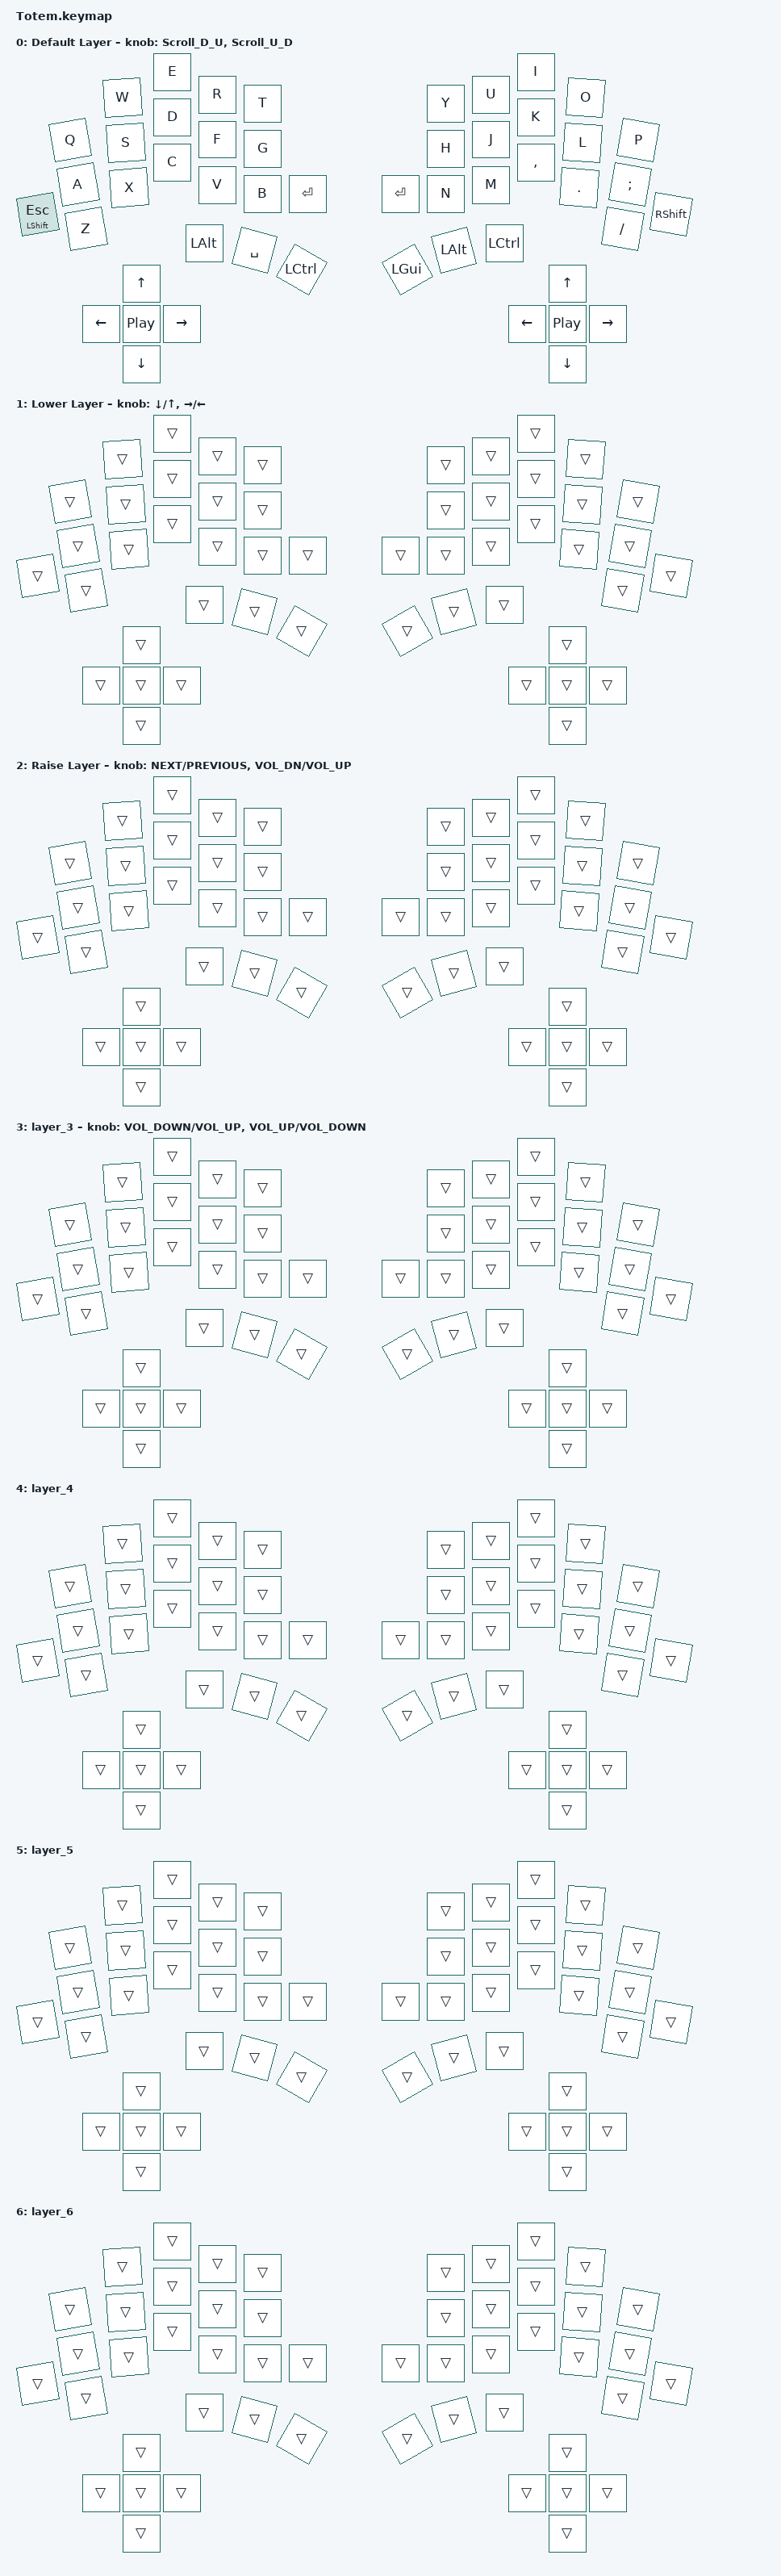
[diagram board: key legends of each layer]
/*
 * Copyright (c) 2020 The ZMK Contributors
 *
 * SPDX-License-Identifier: MIT
 */

#include <input/processors.dtsi>
#include <zephyr/dt-bindings/input/input-event-codes.h>
#include <dt-bindings/zmk/mouse.h>
#include <behaviors/mouse_keys.dtsi>
#include <behaviors.dtsi>
#include <dt-bindings/zmk/keys.h>
#include <dt-bindings/zmk/pointing.h>

#define ZMK_POINTING_DEFAULT_MOVE_VAL 1200  // 600
#define ZMK_POINTING_DEFAULT_SCRL_VAL 900   // mousescroll SPEED

&mmv_input_listener { input-processors = <&zip_xy_scaler 2 1>; };

&msc_input_listener { input-processors = <&zip_scroll_scaler 2 1>; };

&msc {
    acceleration-exponent = <1>;      // 0
    time-to-max-speed-ms = <100>;       // 300
    delay-ms = <0>;                   // 0
};

&mmv {
    time-to-max-speed-ms = <500>;
    acceleration-exponent = <1>;
    trigger-period-ms = <16>;
};

&soft_off {
    hold-time-ms = <3000>; // Only turn off it the key is held for 3 seconds or longer.
};

&mt {
    tapping-term-ms = <300>;
    flavor = "tap-preferred";
};

&lt { tapping-term-ms = <300>; };

/ {
    behaviors {
        Scroll_D_U: Scroll_D_U {
            compatible = "zmk,behavior-sensor-rotate";
            label = "SCROLL_D_U";
            #sensor-binding-cells = <0>;
            bindings = <&msc SCRL_DOWN>, <&msc SCRL_UP>;

            tap-ms = <20>;
        };

        TD01: TD01 {
            compatible = "zmk,behavior-tap-dance";
            label = "TD01";
            #binding-cells = <0>;
            bindings = <&kp MINUS>, <&kp PERIOD>;
        };

        Scroll_U_D: Scroll_U_D {
            compatible = "zmk,behavior-sensor-rotate";
            label = "SCROLL_U_D";
            #sensor-binding-cells = <0>;
            bindings = <&msc SCRL_UP>, <&msc SCRL_DOWN>;

            tap-ms = <20>;
        };

        Scroll_LR: Scroll_LR {
            compatible = "zmk,behavior-sensor-rotate";
            label = "SCROLL_LR";
            #sensor-binding-cells = <0>;
            bindings = <&msc SCRL_LEFT>, <&msc SCRL_RIGHT>;

            tap-ms = <20>;
        };

        Scroll_RL: Scroll_RL {
            compatible = "zmk,behavior-sensor-rotate";
            label = "SCROLL_RL";
            #sensor-binding-cells = <0>;
            bindings = <&msc SCRL_RIGHT>, <&msc SCRL_LEFT>;

            tap-ms = <20>;
        };
    };

    combos {
        compatible = "zmk,combos";

        boot {
            bindings = <&bootloader>;
            key-positions = <33 32 30>;
        };

        boot2 {
            bindings = <&bootloader>;
            key-positions = <36 37 39>;
        };
    };

    keymap {
        compatible = "zmk,keymap";

        default_layer {
            display-name = "Default Layer";
            bindings = <
&kp Q          &kp W         &kp E             &kp R      &kp T      &kp Y      &kp U     &kp I             &kp O      &kp P
&kp A          &kp S         &kp D             &kp F      &kp G      &kp H      &kp J     &kp K             &kp L      &kp SEMI
&kp Z          &kp X         &kp C             &kp V      &kp B      &kp N      &kp M     &kp COMMA         &kp DOT    &kp FSLH
&mt LSHFT ESC  &kp LEFT_ALT  &kp SPACE         &kp LCTRL  &kp ENTER  &kp ENTER  &kp LGUI  &kp LALT          &kp LCTRL  &kp RSHFT
&kp LEFT       &kp UP        &kp C_PLAY_PAUSE  &kp DOWN   &kp RIGHT  &kp LEFT   &kp DOWN  &kp C_PLAY_PAUSE  &kp UP     &kp RIGHT
            >;

            sensor-bindings = <&Scroll_D_U>, <&Scroll_U_D>;
        };

        lower_layer {
            display-name = "Lower Layer";
            bindings = <
&trans  &trans  &trans  &trans  &trans  &trans  &trans  &trans  &trans  &trans
&trans  &trans  &trans  &trans  &trans  &trans  &trans  &trans  &trans  &trans
&trans  &trans  &trans  &trans  &trans  &trans  &trans  &trans  &trans  &trans
&trans  &trans  &trans  &trans  &trans  &trans  &trans  &trans  &trans  &trans
&trans  &trans  &trans  &trans  &trans  &trans  &trans  &trans  &trans  &trans
            >;

            sensor-bindings =
                <&inc_dec_kp DOWN UP_ARROW>,
                <&inc_dec_kp RIGHT LEFT>;
        };

        raise_layer {
            display-name = "Raise Layer";
            bindings = <
&trans  &trans  &trans  &trans  &trans  &trans  &trans  &trans  &trans  &trans
&trans  &trans  &trans  &trans  &trans  &trans  &trans  &trans  &trans  &trans
&trans  &trans  &trans  &trans  &trans  &trans  &trans  &trans  &trans  &trans
&trans  &trans  &trans  &trans  &trans  &trans  &trans  &trans  &trans  &trans
&trans  &trans  &trans  &trans  &trans  &trans  &trans  &trans  &trans  &trans
            >;

            sensor-bindings =
                <&inc_dec_kp C_NEXT C_PREVIOUS>,
                <&inc_dec_kp C_VOL_DN C_VOL_UP>;
        };

        layer_3 {
            bindings = <
&trans  &trans  &trans  &trans  &trans  &trans  &trans  &trans  &trans  &trans
&trans  &trans  &trans  &trans  &trans  &trans  &trans  &trans  &trans  &trans
&trans  &trans  &trans  &trans  &trans  &trans  &trans  &trans  &trans  &trans
&trans  &trans  &trans  &trans  &trans  &trans  &trans  &trans  &trans  &trans
&trans  &trans  &trans  &trans  &trans  &trans  &trans  &trans  &trans  &trans
            >;

            sensor-bindings =
                <&inc_dec_kp C_VOLUME_DOWN C_VOLUME_UP>,
                <&inc_dec_kp C_VOLUME_UP C_VOLUME_DOWN>;
        };

        layer_4 {
            bindings = <
&trans  &trans  &trans  &trans  &trans  &trans  &trans  &trans  &trans  &trans
&trans  &trans  &trans  &trans  &trans  &trans  &trans  &trans  &trans  &trans
&trans  &trans  &trans  &trans  &trans  &trans  &trans  &trans  &trans  &trans
&trans  &trans  &trans  &trans  &trans  &trans  &trans  &trans  &trans  &trans
&trans  &trans  &trans  &trans  &trans  &trans  &trans  &trans  &trans  &trans
            >;
        };

        layer_5 {
            bindings = <
&trans  &trans  &trans  &trans  &trans  &trans  &trans  &trans  &trans  &trans
&trans  &trans  &trans  &trans  &trans  &trans  &trans  &trans  &trans  &trans
&trans  &trans  &trans  &trans  &trans  &trans  &trans  &trans  &trans  &trans
&trans  &trans  &trans  &trans  &trans  &trans  &trans  &trans  &trans  &trans
&trans  &trans  &trans  &trans  &trans  &trans  &trans  &trans  &trans  &trans
            >;
        };

        layer_6 {
            bindings = <
&trans  &trans  &trans  &trans  &trans  &trans  &trans  &trans  &trans  &trans
&trans  &trans  &trans  &trans  &trans  &trans  &trans  &trans  &trans  &trans
&trans  &trans  &trans  &trans  &trans  &trans  &trans  &trans  &trans  &trans
&trans  &trans  &trans  &trans  &trans  &trans  &trans  &trans  &trans  &trans
&trans  &trans  &trans  &trans  &trans  &trans  &trans  &trans  &trans  &trans
            >;
        };
    };
};
